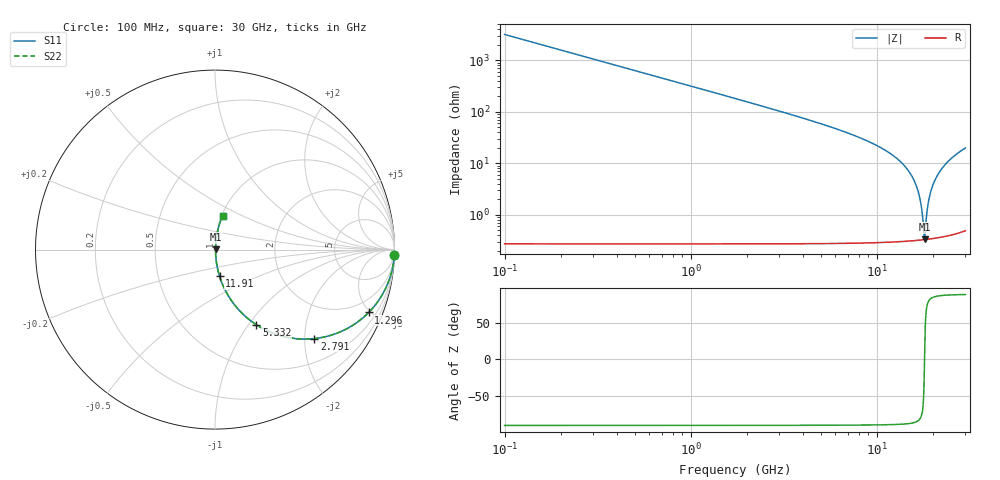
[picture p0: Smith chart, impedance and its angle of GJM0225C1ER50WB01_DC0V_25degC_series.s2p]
!Murata Part Number: GJM0225C1ER50WB01
!These Parameters are Measured in Series Mode Connection
!  o--ll--o
!Port1  Port2
!  o------o
!Operation Temp=25[degC], DC Bias Voltage=0[V]
!Freq. Start=100[MHz] Stop=30[GHz], 401[Steps]
!Data Generated on Feb 1, 2023
# Hz S RI R 50
!Freq.(Hz) S11(Real) S11(Imag) S21(Real) S21(Imag) S12(Real) S12(Imag) S22(Real) S22(Imag)
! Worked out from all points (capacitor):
!   401 points, 100 MHz to 30 GHz, reference 50 ohm
!   read as one part in series: C = 500 fF near 249.5 MHz
!   lowest |Z| = 334 mohm at 18.11 GHz (marker M1)
!   series resonance near 18.09 GHz, so ESL is about 150 pH
!   S11 on the Smith chart (normalised r, x): 100 MHz: 1, -64; 1.296 GHz: 1.01, -4.89; 2.791 GHz: 1.01, -2.23; 5.332 GHz: 1.01, -1.09; 11.91 GHz: 1.01, -0.31; 30 GHz: 1.01, +0.40
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1e8  0.999 -0.0314  0.000989 0.0314  0.000989 0.0314  0.999 -0.0314
3.2425e8  0.9897 -0.1008  0.0103 0.1008  0.0103 0.1008  0.9897 -0.1008
5.485e8  0.971 -0.1675  0.029 0.1675  0.029 0.1675  0.971 -0.1675
8.475e8  0.9334 -0.249  0.0666 0.249  0.0666 0.249  0.9334 -0.249
1.296e9  0.8563 -0.3502  0.1437 0.3502  0.1437 0.3502  0.8563 -0.3502
2.791e9  0.5536 -0.4959  0.4464 0.4959  0.4464 0.4959  0.5536 -0.4959
5.10825e9  0.2491 -0.4301  0.7509 0.4301  0.7509 0.4301  0.2491 -0.4301
5.3325e9  0.2308 -0.4188  0.7692 0.4188  0.7692 0.4188  0.2308 -0.4188
1.01165e10  0.0477 -0.2066  0.9523 0.2066  0.9523 0.2066  0.0477 -0.2066
1.19105e10  0.0255 -0.1484  0.9745 0.1484  0.9745 0.1484  0.0255 -0.1484
1.505e10  0.00738 -0.0653  0.9926 0.0653  0.9926 0.0653  0.00738 -0.0653
1.617125e10  0.00474 -0.0398  0.9953 0.0398  0.9953 0.0398  0.00474 -0.0398
1.69935e10  0.0037 -0.0222  0.9963 0.0222  0.9963 0.0222  0.0037 -0.0222
1.7442e10  0.0034 -0.0129  0.9966 0.0129  0.9966 0.0129  0.0034 -0.0129
1.796525e10  0.00328 -0.0024  0.9967 0.0024  0.9967 0.0024  0.00328 -0.0024
1.811475e10  0.00328 0.000558  0.9967 -0.000558  0.9967 -0.000558  0.00328 0.000558
1.856325e10  0.0034 0.0093  0.9966 -0.0093  0.9966 -0.0093  0.0034 0.0093
1.8937e10  0.00362 0.0164  0.9964 -0.0164  0.9964 -0.0164  0.00362 0.0164
2.005825e10  0.00483 0.0372  0.9952 -0.0372  0.9952 -0.0372  0.00483 0.0372
2.20765e10  0.00888 0.0721  0.9911 -0.0721  0.9911 -0.0721  0.00888 0.0721
2.50665e10  0.0185 0.1194  0.9815 -0.1194  0.9815 -0.1194  0.0185 0.1194
3e10  0.0423 0.1892  0.9577 -0.1892  0.9577 -0.1892  0.0423 0.1892
